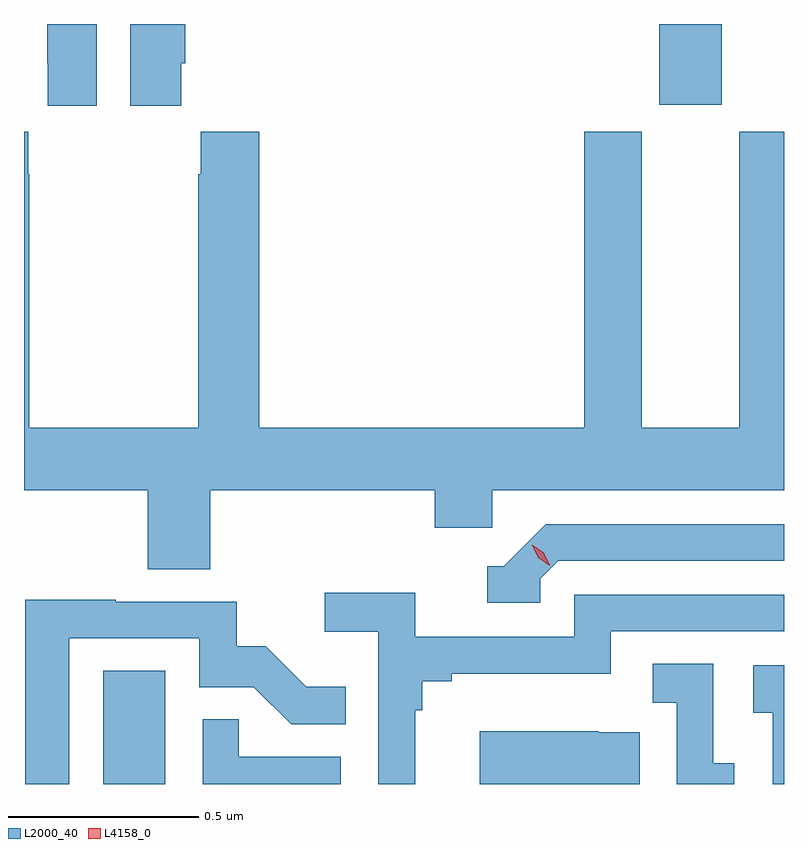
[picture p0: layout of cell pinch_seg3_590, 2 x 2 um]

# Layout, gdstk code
import gdstk
lib = gdstk.Library(unit=1e-6, precision=1e-09)
def R(c, l, rs):  # rectangles x0, y0, x1, y1
    for r in rs: c.add(gdstk.rectangle(r[:2], r[2:], *l))
def P(c, l, *ps):  # polygons
    for p in ps: c.add(gdstk.Polygon(p, *l))
L2000_40 = (2000, 40)
L4158_0 = (4158, 0)

pinch_seg3_590 = lib.new_cell('pinch_seg3_590')
R(pinch_seg3_590, L2000_40, [(1065.086,692.151,1065.25,692.449), (1066.55,693.939,1066.714,694.151)])
P(pinch_seg3_590, L2000_40, [(1065.07,694.151),(1064.939,694.151),(1064.939,694.048),(1064.94,694.048),(1064.94,693.936),(1065.07,693.936)],
  [(1065.292,694.048),(1065.302,694.048),(1065.302,694.151),(1065.158,694.151),(1065.158,693.936),(1065.292,693.936)],
  [(1065.368,692.924),(1065.959,692.924),(1065.959,692.826),(1066.11,692.826),(1066.11,692.924),(1066.878,692.924),(1066.878,693.867),(1066.76,693.867),(1066.76,693.088),(1066.504,693.088),(1066.504,693.867),(1066.352,693.867),(1066.352,693.088),(1065.497,693.088),(1065.497,693.868),(1065.343,693.868),(1065.343,693.755),(1065.337,693.755),(1065.337,693.088),(1064.892,693.088),(1064.892,693.755),(1064.889,693.755),(1064.889,693.868),(1064.878,693.868),(1064.878,692.924),(1065.203,692.924),(1065.203,692.716),(1065.368,692.716)],
  [(1066.236,692.691),(1066.284,692.739),(1066.878,692.739),(1066.878,692.835),(1066.251,692.835),(1066.14,692.724),(1066.097,692.724),(1066.097,692.628),(1066.236,692.628)],
  [(1065.907,692.345),(1065.926,692.345),(1065.926,692.422),(1066.003,692.422),(1066.003,692.441),(1066.422,692.441),(1066.422,692.553),(1066.878,692.553),(1066.878,692.649),(1066.326,692.649),(1066.326,692.538),(1065.908,692.538),(1065.908,692.654),(1065.669,692.654),(1065.669,692.552),(1065.81,692.552),(1065.81,692.151),(1065.907,692.151)],
  [(1064.997,692.535),(1065.339,692.535),(1065.339,692.406),(1065.483,692.406),(1065.581,692.308),(1065.725,692.308),(1065.725,692.407),(1065.621,692.407),(1065.514,692.514),(1065.438,692.514),(1065.438,692.631),(1065.119,692.631),(1065.119,692.636),(1064.881,692.636),(1064.881,692.151),(1064.997,692.151)],
  [(1066.747,692.205),(1066.692,692.205),(1066.692,692.468),(1066.533,692.468),(1066.533,692.365),(1066.596,692.365),(1066.596,692.151),(1066.747,692.151)],
  [(1066.878,692.463),(1066.797,692.463),(1066.797,692.339),(1066.848,692.339),(1066.848,692.151),(1066.878,692.151)],
  [(1065.712,692.223),(1065.443,692.223),(1065.443,692.321),(1065.348,692.321),(1065.348,692.151),(1065.712,692.151)],
  [(1066.499,692.287),(1066.391,692.287),(1066.391,692.29),(1066.077,692.29),(1066.077,692.151),(1066.499,692.151)])
P(pinch_seg3_590, L4158_0, [(1066.262,692.726),(1066.231,692.747),(1066.216,692.779),(1066.216,692.78),(1066.216,692.78),(1066.246,692.76),(1066.262,692.727),(1066.262,692.726)])

lib.write_gds('pinch_seg3_590.gds')
